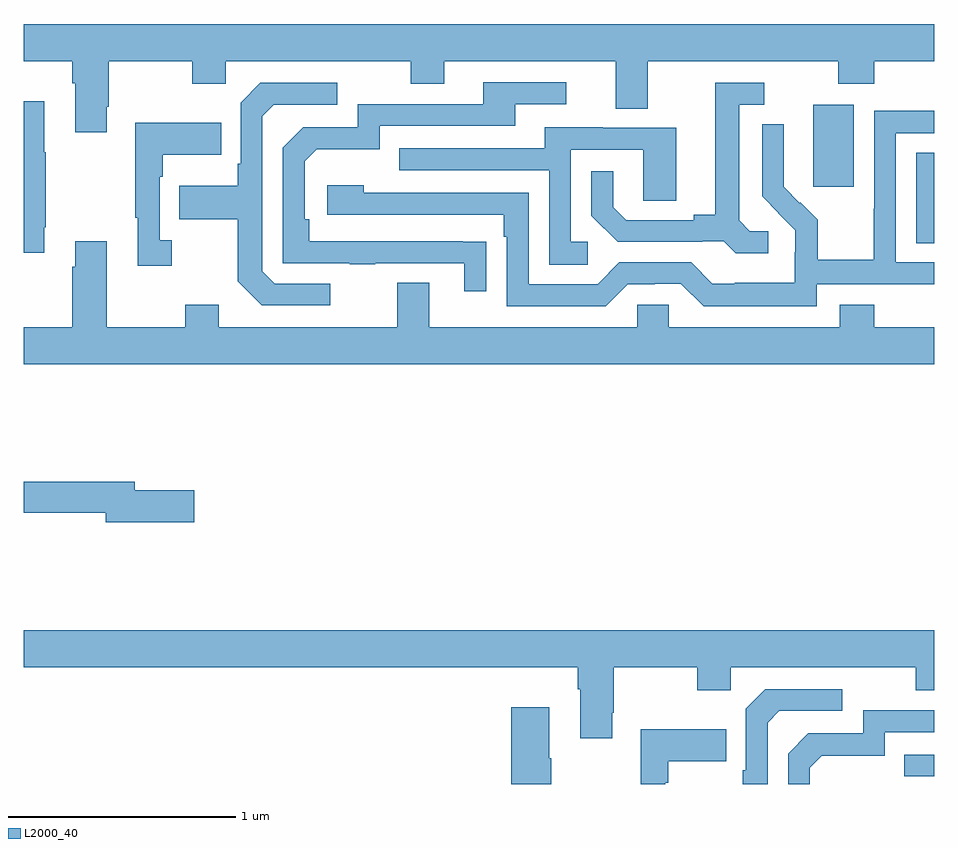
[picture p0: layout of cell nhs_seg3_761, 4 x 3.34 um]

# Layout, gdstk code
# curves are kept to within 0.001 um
import gdstk
lib = gdstk.Library(unit=1e-6, precision=1e-09)
def R(c, l, rs):  # rectangles x0, y0, x1, y1
    for r in rs: c.add(gdstk.rectangle(r[:2], r[2:], *l))
def P(c, l, *ps):  # polygons
    for p in ps: c.add(gdstk.Polygon(p, *l))
L2000_40 = (2000, 40)

nhs_seg3_761 = lib.new_cell('nhs_seg3_761')
R(nhs_seg3_761, L2000_40, [(152.869,704.433,153,704.529), (152.921,706.777,153,707.174), (152.468,707.025,152.647,707.386)])
P(nhs_seg3_761, L2000_40, [(149.365,707.377),(149.373,707.377),(149.373,707.576),(149.74,707.576),(149.74,707.477),(149.886,707.477),(149.886,707.576),(150.7,707.576),(150.7,707.477),(150.847,707.477),(150.847,707.576),(151.601,707.576),(151.601,707.368),(151.741,707.368),(151.741,707.576),(152.578,707.576),(152.578,707.477),(152.738,707.477),(152.738,707.576),(153,707.576),(153,707.74),(149,707.74),(149,707.576),(149.213,707.576),(149.213,707.48),(149.225,707.48),(149.225,707.265),(149.365,707.265)],
  [(151.031,706.784),(150.254,706.785),(150.254,706.882),(150.234,706.882),(150.234,707.136),(150.287,707.189),(150.564,707.189),(150.564,707.292),(151.159,707.292),(151.159,707.388),(151.384,707.388),(151.384,707.484),(151.019,707.484),(151.019,707.388),(150.468,707.388),(150.468,707.286),(150.228,707.286),(150.138,707.196),(150.138,706.689),(150.433,706.689),(150.433,706.684),(150.545,706.684),(150.545,706.689),(150.935,706.689),(150.935,706.566),(151.031,706.566)],
  [(150.346,706.599),(150.102,706.599),(150.048,706.653),(150.048,707.334),(150.099,707.385),(150.376,707.385),(150.376,707.481),(150.039,707.481),(149.952,707.394),(149.952,707.125),(149.94,707.125),(149.94,707.029),(149.683,707.029),(149.683,706.882),(149.94,706.882),(149.94,706.609),(150.045,706.503),(150.346,706.503)],
  [(152.272,706.83),(152.19,706.83),(152.143,706.877),(152.143,707.385),(152.254,707.385),(152.254,707.481),(152.039,707.481),(152.039,706.901),(151.943,706.901),(151.943,706.878),(151.648,706.878),(151.591,706.935),(151.591,707.092),(151.494,707.092),(151.494,706.898),(151.61,706.782),(151.982,706.782),(151.982,706.785),(152.076,706.785),(152.128,706.733),(152.272,706.733)],
  [(149.089,706.846),(149.097,706.846),(149.097,707.177),(149.089,707.177),(149.089,707.401),(149,707.401),(149,706.734),(149.089,706.734)],
  [(152.484,706.596),(153,706.596),(153,706.692),(152.832,706.692),(152.832,707.259),(153,707.259),(153,707.358),(152.736,707.358),(152.736,706.928),(152.734,706.928),(152.734,706.705),(152.489,706.705),(152.489,706.879),(152.412,706.956),(152.409,706.953),(152.339,707.024),(152.34,707.3),(152.244,707.3),(152.244,706.982),(152.39,706.834),(152.39,706.737),(152.388,706.737),(152.388,706.603),(152.125,706.603),(152.125,706.599),(152.025,706.599),(151.932,706.692),(151.617,706.692),(151.521,706.596),(151.218,706.596),(151.218,706.998),(150.494,706.998),(150.494,707.032),(150.333,707.032),(150.333,706.902),(151.109,706.902),(151.109,706.805),(151.122,706.805),(151.122,706.5),(151.557,706.5),(151.653,706.596),(151.772,706.596),(151.772,706.599),(151.887,706.599),(151.987,706.499),(152.484,706.499)],
  [(149.65,706.79),(149.598,706.79),(149.598,707.069),(149.611,707.069),(149.611,707.165),(149.867,707.165),(149.867,707.305),(149.49,707.305),(149.49,706.889),(149.501,706.889),(149.501,706.677),(149.65,706.677)],
  [(151.477,706.782),(151.404,706.782),(151.404,707.187),(151.722,707.187),(151.722,706.963),(151.867,706.963),(151.867,707.283),(151.543,707.283),(151.543,707.287),(151.289,707.287),(151.289,707.193),(150.649,707.193),(150.649,707.097),(151.308,707.097),(151.308,706.681),(151.477,706.681)],
  [(153,706.408),(152.738,706.408),(152.738,706.507),(152.585,706.507),(152.585,706.408),(151.833,706.408),(151.833,706.506),(151.695,706.506),(151.695,706.408),(150.781,706.408),(150.781,706.603),(150.641,706.603),(150.641,706.408),(149.857,706.408),(149.857,706.507),(149.71,706.507),(149.71,706.408),(149.365,706.408),(149.365,706.786),(149.225,706.786),(149.225,706.673),(149.213,706.673),(149.213,706.408),(149,706.408),(149,706.244),(153,706.244)],
  [(149.749,705.692),(149.488,705.692),(149.488,705.728),(149,705.728),(149,705.592),(149.36,705.592),(149.36,705.55),(149.749,705.55)],
  [(151.585,704.713),(151.593,704.713),(151.593,704.912),(151.96,704.912),(151.96,704.813),(152.106,704.813),(152.106,704.912),(152.92,704.912),(152.92,704.813),(153,704.813),(153,705.076),(149,705.076),(149,704.912),(151.433,704.912),(151.433,704.816),(151.445,704.816),(151.445,704.601),(151.585,704.601)],
  [(152.268,704.67),(152.319,704.721),(152.596,704.721),(152.596,704.817),(152.259,704.817),(152.172,704.73),(152.172,704.461),(152.16,704.461),(152.16,704.4),(152.268,704.4)],
  [(151.317,704.513),(151.309,704.513),(151.309,704.737),(151.142,704.737),(151.142,704.4),(151.317,704.4)],
  [(152.454,704.472),(152.507,704.525),(152.784,704.525),(152.784,704.628),(153,704.628),(153,704.724),(152.688,704.724),(152.688,704.622),(152.448,704.622),(152.358,704.532),(152.358,704.4),(152.454,704.4)],
  [(151.818,704.405),(151.831,704.405),(151.831,704.501),(152.087,704.501),(152.087,704.641),(151.71,704.641),(151.71,704.4),(151.818,704.4)])

lib.write_gds('nhs_seg3_761.gds')
